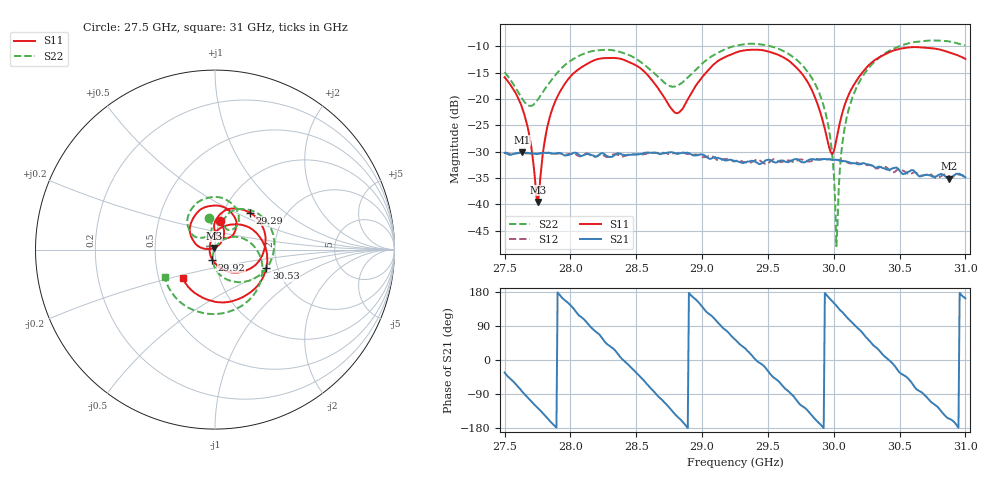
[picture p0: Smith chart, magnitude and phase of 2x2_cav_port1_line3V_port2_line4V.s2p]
!Created with skrf (http://scikit-rf.org).
# GHz S RI R 50.0
!freq ReS11 ImS11 ReS21 ImS21 ReS12 ImS12 ReS22 ImS22
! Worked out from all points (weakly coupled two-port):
!   401 points, 27.5 GHz to 31 GHz, reference 50 ohm
!   highest |S21| = -30.07 dB at 27.63 GHz (marker M1); lowest = -35.1 dB at 30.88 GHz (marker M2)
!   lowest |S11| = -39.5 dB at 27.75 GHz (marker M3), VSWR 1.02, Z = 49.4 + j0.888 ohm
!   |S11| at or under -10 dB: start of sweep to end of sweep
!   |S22| runs from -48.0 to -8.9 dB; largest |S21 - S12| = 0.0024
!   S11 on the Smith chart (normalised r, x): 27.5 GHz: 1.00, +0.33; 29.29 GHz: 1.33, +0.60; 29.92 GHz: 0.96, -0.11; 30.53 GHz: 1.74, -0.39; 31 GHz: 0.66, -0.22
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27.5  0.0265 0.1584  0.0257 -0.0168  0.026 -0.0168  -0.0346 0.1766
27.63125  0.0471 0.0695  0.00405 -0.0311  0.00371 -0.0307  -0.0229 0.099
27.75375  -0.00553 0.00898  -0.0183 -0.0242  -0.0183 -0.0239  -0.0742 0.0658
27.815  -0.0472 0.0037  -0.0266 -0.0155  -0.0267 -0.0153  -0.108 0.0705
27.8675  -0.0829 0.0126  -0.0297 -0.00548  -0.0296 -0.00518  -0.1316 0.0887
28.08625  -0.1325 0.1509  -0.0108 0.0267  -0.0115 0.0265  -0.1267 0.2319
28.3925  0.0615 0.2304  0.0295 0.00126  0.0284 0.00187  0.0865 0.262
28.6725  0.0956 0.0767  -0.00424 -0.0299  -0.00365 -0.0303  0.1079 0.118
28.82125  0.0237 0.0702  -0.0267 -0.0142  -0.027 -0.0149  0.0557 0.1235
29.25  0.1657 0.219  0.0151 0.0209  0.0145 0.021  0.2588 0.1862
29.285  0.1944 0.2066  0.0188 0.0168  0.0191 0.0176  0.2823 0.162
29.6175  0.2378 -0.0726  0.00851 -0.0246  0.00882 -0.0239  0.2461 -0.1443
29.83625  0.0449 -0.111  -0.0225 -0.0145  -0.0216 -0.0144  0.0406 -0.1509
29.92375  -0.0154 -0.0553  -0.0269 -0.00018  -0.0267 0.000141  -0.00701 -0.0853
29.97625  -0.0298 -0.0103  -0.0249 0.00927  -0.025 0.00944  -0.0129 -0.0383
30.02  -0.0268 0.0312  -0.0211 0.0158  -0.0212 0.0158  -0.00392 -0.000808
30.0725  -0.00937 0.0791  -0.0143 0.0215  -0.0139 0.0217  0.0231 0.0376
30.13375  0.03 0.1201  -0.00477 0.0241  -0.00488 0.0239  0.0709 0.0657
30.4225  0.2776 0.0196  0.0213 -0.000463  0.0209 -0.00196  0.265 -0.1112
30.5275  0.2858 -0.1018  0.0149 -0.0123  0.0159 -0.0134  0.2278 -0.2346
30.8775  -0.0676 -0.2683  -0.0158 -0.00743  -0.0169 -0.00746  -0.1888 -0.2963
31  -0.1798 -0.1591  -0.0172 0.00539  -0.0176 0.00486  -0.2811 -0.1544
